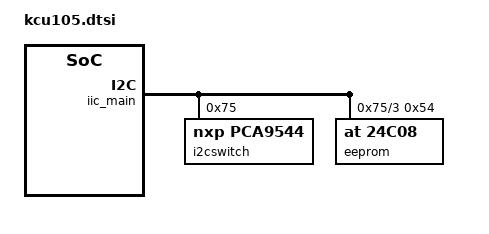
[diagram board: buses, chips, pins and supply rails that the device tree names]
// SPDX-License-Identifier: GPL-2.0
/*
 * dts file for Xilinx kcu105 
 *
 * (C) Copyright 2021, Xilinx, Inc.
 *
 * Michal Simek <michal.simek@xilinx.com>
 *
 */
/ {
	hard-reset-gpios = <&reset_gpio 0 1>;
};

&iic_main {
	#address-cells = <1>;
	#size-cells = <0>;
	i2cswitch@75 {
		compatible = "nxp,pca9544";
		#address-cells = <1>;
		#size-cells = <0>;
		reg = <0x75>;
		i2c@3 {
			#address-cells = <1>;
			#size-cells = <0>;
			reg = <3>;
			eeprom@54 {
				compatible = "at,24c08";
				reg = <0x54>;
			};
		};
	};
};
